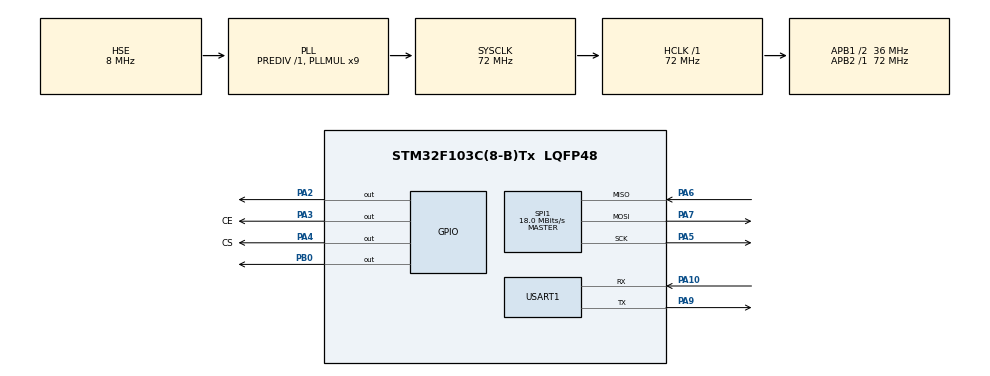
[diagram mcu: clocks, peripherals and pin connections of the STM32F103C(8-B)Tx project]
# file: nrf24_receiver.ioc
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Mcu.Family=STM32F1
Mcu.Name=STM32F103C(8-B)Tx
Mcu.Package=LQFP48
NVIC.PriorityGroup=NVIC_PRIORITYGROUP_4
PA10.Mode=Asynchronous
PA10.Signal=USART1_RX
PA13.Mode=Serial_Wire
PA13.Signal=SYS_JTMS-SWDIO
PA14.Mode=Serial_Wire
PA14.Signal=SYS_JTCK-SWCLK
PA2.Signal=GPIO_Output
PA3.GPIO_Label=CE
PA3.GPIO_Speed=GPIO_SPEED_FREQ_HIGH
PA3.Signal=GPIO_Output
PA4.GPIO_Label=CS
PA4.GPIO_Speed=GPIO_SPEED_FREQ_HIGH
PA4.Signal=GPIO_Output
PA5.Mode=Full_Duplex_Master
PA5.Signal=SPI1_SCK
PA6.Mode=Full_Duplex_Master
PA6.Signal=SPI1_MISO
PA7.Mode=Full_Duplex_Master
PA7.Signal=SPI1_MOSI
PA9.Mode=Asynchronous
PA9.Signal=USART1_TX
PB0.Signal=GPIO_Output
PD0-OSC_IN.Mode=HSE-External-Oscillator
PD0-OSC_IN.Signal=RCC_OSC_IN
PD1-OSC_OUT.Mode=HSE-External-Oscillator
PD1-OSC_OUT.Signal=RCC_OSC_OUT
ProjectManager.HeapSize=0x200
ProjectManager.StackSize=0x400
ProjectManager.TargetToolchain=STM32CubeIDE
RCC.AHBFreq_Value=72000000
RCC.APB1CLKDivider=RCC_HCLK_DIV2
RCC.APB1Freq_Value=36000000
RCC.APB1TimFreq_Value=72000000
RCC.APB2Freq_Value=72000000
RCC.APB2TimFreq_Value=72000000
RCC.HCLKFreq_Value=72000000
RCC.PLLMUL=RCC_PLL_MUL9
RCC.PLLSourceVirtual=RCC_PLLSOURCE_HSE
RCC.SYSCLKFreq_VALUE=72000000
RCC.SYSCLKSource=RCC_SYSCLKSOURCE_PLLCLK
RCC.USBFreq_Value=72000000
SPI1.BaudRatePrescaler=SPI_BAUDRATEPRESCALER_4
SPI1.CalculateBaudRate=18.0 MBits/s
SPI1.Direction=SPI_DIRECTION_2LINES
SPI1.Mode=SPI_MODE_MASTER
SPI1.VirtualType=VM_MASTER
USART1.VirtualMode=VM_ASYNC
board=custom

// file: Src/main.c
/* USER CODE BEGIN Header */
/**
  ******************************************************************************
  * @file           : main.c
  * @brief          : Main program body
  ******************************************************************************
  * @attention
  *
  * <h2><center>&copy; Copyright (c) 2019 STMicroelectronics.
  * All rights reserved.</center></h2>
  *
  * This software component is licensed by ST under BSD 3-Clause license,
  * the "License"; You may not use this file except in compliance with the
  * License. You may obtain a copy of the License at:
  *                        opensource.org/licenses/BSD-3-Clause
  *
  ******************************************************************************
  */
/* USER CODE END Header */

#include "main.h"

/* USER CODE BEGIN Includes */
#include "nrf24_hal.h"
#include "nrf24.h"
/* USER CODE END Includes */

SPI_HandleTypeDef hspi1;

UART_HandleTypeDef huart1;

void SystemClock_Config(void);
static void MX_GPIO_Init(void);
static void MX_SPI1_Init(void);
static void MX_USART1_UART_Init(void);

int main(void)
{

  /* MCU Configuration--------------------------------------------------------*/

  /* Reset of all peripherals, Initializes the Flash interface and the Systick. */
  HAL_Init();

  /* Configure the system clock */
  SystemClock_Config();

  /* Initialize all configured peripherals */
  MX_GPIO_Init();
  MX_SPI1_Init();
  MX_USART1_UART_Init();
  /* USER CODE BEGIN 2 */
  uint8_t ADDR[] = { 'n', 'R', 'F', '2', '4' }; // the address for RX pipe
  nRF24_DisableAA(0xFF); // disable ShockBurst
  nRF24_SetRFChannel(24); // set RF channel to 2490MHz
  nRF24_SetDataRate(nRF24_DR_2Mbps); // 2Mbit/s data rate
  nRF24_SetCRCScheme(nRF24_CRC_1byte); // 1-byte CRC scheme
  nRF24_SetAddrWidth(5); // address width is 5 bytes
  nRF24_SetAddr(nRF24_PIPE1, ADDR); // program pipe address
  nRF24_SetRXPipe(nRF24_PIPE1, nRF24_AA_OFF, 10); // enable RX pipe#1 with Auto-ACK: disabled, payload length: 10 bytes
  nRF24_SetOperationalMode(nRF24_MODE_RX); // switch transceiver to the RX mode
  nRF24_SetPowerMode(nRF24_PWR_UP); // wake-up transceiver (in case if it sleeping)
  // then pull CE pin to HIGH, and the nRF24 will start a receive...
  /* USER CODE END 2 */

  /* Infinite loop */
  while (1)
  {

    /* USER CODE BEGIN 3 */
	  uint8_t nRF24_payload[32] =""; // buffer for payload
	  uint8_t payload_length; // variable to store a length of received payload
	  uint8_t pipe; // pipe number
	  nRF24_CE_H; // start receiving
	  while (1) {
	      // constantly poll the status of RX FIFO...
	      if (nRF24_GetStatus_RXFIFO() != nRF24_STATUS_RXFIFO_EMPTY) {
	          // the RX FIFO have some data, take a note what nRF24 can hold up to three payloads of 32 bytes...
	          pipe = nRF24_ReadPayload(nRF24_payload, &payload_length); // read a payload to buffer
	          nRF24_ClearIRQFlags(); // clear any pending IRQ bits
	          // now the nRF24_payload buffer holds received data
	          // payload_length variable holds a length of received data
	          // pipe variable holds a number of the pipe which has received the data
	          // ... do something with received data ...
	      }
	  }
  }
  /* USER CODE END 3 */
}

void SystemClock_Config(void)
{
  RCC_OscInitTypeDef RCC_OscInitStruct = {0};
  RCC_ClkInitTypeDef RCC_ClkInitStruct = {0};

  /** Initializes the CPU, AHB and APB busses clocks
  */
  RCC_OscInitStruct.OscillatorType = RCC_OSCILLATORTYPE_HSE;
  RCC_OscInitStruct.HSEState = RCC_HSE_ON;
  RCC_OscInitStruct.HSEPredivValue = RCC_HSE_PREDIV_DIV1;
  RCC_OscInitStruct.HSIState = RCC_HSI_ON;
  RCC_OscInitStruct.PLL.PLLState = RCC_PLL_ON;
  RCC_OscInitStruct.PLL.PLLSource = RCC_PLLSOURCE_HSE;
  RCC_OscInitStruct.PLL.PLLMUL = RCC_PLL_MUL9;
  if (HAL_RCC_OscConfig(&RCC_OscInitStruct) != HAL_OK)
  {
    Error_Handler();
  }
  /** Initializes the CPU, AHB and APB busses clocks
  */
  RCC_ClkInitStruct.ClockType = RCC_CLOCKTYPE_HCLK|RCC_CLOCKTYPE_SYSCLK
                              |RCC_CLOCKTYPE_PCLK1|RCC_CLOCKTYPE_PCLK2;
  RCC_ClkInitStruct.SYSCLKSource = RCC_SYSCLKSOURCE_PLLCLK;
  RCC_ClkInitStruct.AHBCLKDivider = RCC_SYSCLK_DIV1;
  RCC_ClkInitStruct.APB1CLKDivider = RCC_HCLK_DIV2;
  RCC_ClkInitStruct.APB2CLKDivider = RCC_HCLK_DIV1;

  if (HAL_RCC_ClockConfig(&RCC_ClkInitStruct, FLASH_LATENCY_2) != HAL_OK)
  {
    Error_Handler();
  }
}

static void MX_SPI1_Init(void)
{

  /* SPI1 parameter configuration*/
  hspi1.Instance = SPI1;
  hspi1.Init.Mode = SPI_MODE_MASTER;
  hspi1.Init.Direction = SPI_DIRECTION_2LINES;
  hspi1.Init.DataSize = SPI_DATASIZE_8BIT;
  hspi1.Init.CLKPolarity = SPI_POLARITY_LOW;
  hspi1.Init.CLKPhase = SPI_PHASE_1EDGE;
  hspi1.Init.NSS = SPI_NSS_SOFT;
  hspi1.Init.BaudRatePrescaler = SPI_BAUDRATEPRESCALER_4;
  hspi1.Init.FirstBit = SPI_FIRSTBIT_MSB;
  hspi1.Init.TIMode = SPI_TIMODE_DISABLE;
  hspi1.Init.CRCCalculation = SPI_CRCCALCULATION_DISABLE;
  hspi1.Init.CRCPolynomial = 10;
  if (HAL_SPI_Init(&hspi1) != HAL_OK)
  {
    Error_Handler();
  }

}

static void MX_USART1_UART_Init(void)
{

  huart1.Instance = USART1;
  huart1.Init.BaudRate = 115200;
  huart1.Init.WordLength = UART_WORDLENGTH_8B;
  huart1.Init.StopBits = UART_STOPBITS_1;
  huart1.Init.Parity = UART_PARITY_NONE;
  huart1.Init.Mode = UART_MODE_TX_RX;
  huart1.Init.HwFlowCtl = UART_HWCONTROL_NONE;
  huart1.Init.OverSampling = UART_OVERSAMPLING_16;
  if (HAL_UART_Init(&huart1) != HAL_OK)
  {
    Error_Handler();
  }

}

static void MX_GPIO_Init(void)
{
  GPIO_InitTypeDef GPIO_InitStruct = {0};

  /* GPIO Ports Clock Enable */
  __HAL_RCC_GPIOD_CLK_ENABLE();
  __HAL_RCC_GPIOA_CLK_ENABLE();
  __HAL_RCC_GPIOB_CLK_ENABLE();

  /*Configure GPIO pin Output Level */
  HAL_GPIO_WritePin(GPIOA, GPIO_PIN_2|CE_Pin|CS_Pin, GPIO_PIN_RESET);

  /*Configure GPIO pin Output Level */
  HAL_GPIO_WritePin(GPIOB, GPIO_PIN_0, GPIO_PIN_RESET);

  /*Configure GPIO pin : PA2 */
  GPIO_InitStruct.Pin = GPIO_PIN_2;
  GPIO_InitStruct.Mode = GPIO_MODE_OUTPUT_PP;
  GPIO_InitStruct.Pull = GPIO_NOPULL;
  GPIO_InitStruct.Speed = GPIO_SPEED_FREQ_LOW;
  HAL_GPIO_Init(GPIOA, &GPIO_InitStruct);

  /*Configure GPIO pins : CE_Pin CS_Pin */
  GPIO_InitStruct.Pin = CE_Pin|CS_Pin;
  GPIO_InitStruct.Mode = GPIO_MODE_OUTPUT_PP;
  GPIO_InitStruct.Pull = GPIO_NOPULL;
  GPIO_InitStruct.Speed = GPIO_SPEED_FREQ_HIGH;
  HAL_GPIO_Init(GPIOA, &GPIO_InitStruct);

  /*Configure GPIO pin : PB0 */
  GPIO_InitStruct.Pin = GPIO_PIN_0;
  GPIO_InitStruct.Mode = GPIO_MODE_OUTPUT_PP;
  GPIO_InitStruct.Pull = GPIO_NOPULL;
  GPIO_InitStruct.Speed = GPIO_SPEED_FREQ_LOW;
  HAL_GPIO_Init(GPIOB, &GPIO_InitStruct);

}

void Error_Handler(void)
{
}

/************************ (C) COPYRIGHT STMicroelectronics *****END OF FILE****/
